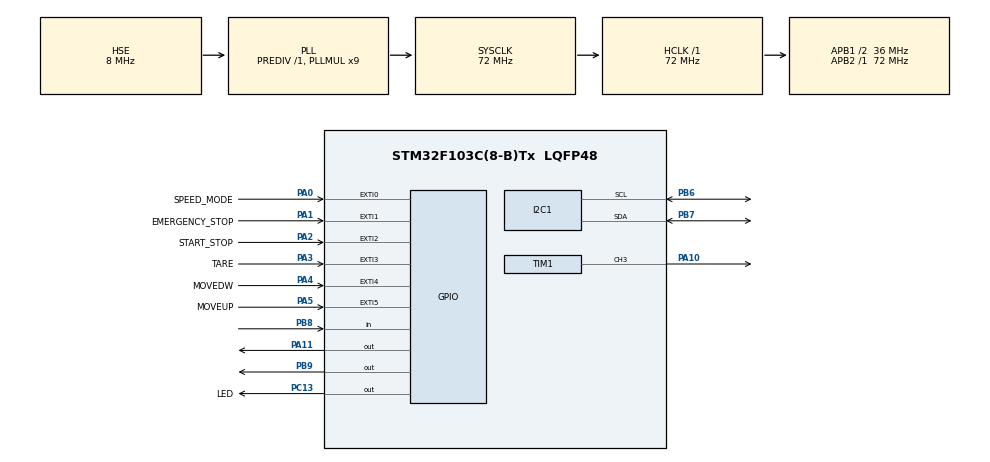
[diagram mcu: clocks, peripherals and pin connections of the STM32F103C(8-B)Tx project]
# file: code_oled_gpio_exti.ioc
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I2C1.I2C_Mode=I2C_Fast
Mcu.Family=STM32F1
Mcu.Name=STM32F103C(8-B)Tx
Mcu.Package=LQFP48
NVIC.EXTI0_IRQn=true\:4\:0\:true\:false\:true\:true\:true\:true
NVIC.EXTI1_IRQn=true\:0\:0\:true\:false\:true\:true\:true\:true
NVIC.EXTI2_IRQn=true\:0\:0\:false\:false\:true\:true\:true\:true
NVIC.EXTI3_IRQn=true\:5\:0\:true\:false\:true\:true\:true\:true
NVIC.EXTI4_IRQn=true\:5\:0\:true\:false\:true\:true\:true\:true
NVIC.EXTI9_5_IRQn=true\:5\:0\:true\:false\:true\:true\:true\:true
NVIC.PriorityGroup=NVIC_PRIORITYGROUP_4
PA0-WKUP.GPIO_Label=SPEED_MODE
PA0-WKUP.GPIO_ModeDefaultEXTI=GPIO_MODE_IT_FALLING
PA0-WKUP.GPIO_PuPd=GPIO_PULLUP
PA0-WKUP.Signal=GPXTI0
PA1.GPIO_Label=EMERGENCY_STOP
PA1.GPIO_ModeDefaultEXTI=GPIO_MODE_IT_FALLING
PA1.GPIO_PuPd=GPIO_PULLUP
PA1.Signal=GPXTI1
PA10.Signal=S_TIM1_CH3
PA11.GPIO_PuPd=GPIO_PULLUP
PA11.Signal=GPIO_Output
PA13.Mode=Serial_Wire
PA13.Signal=SYS_JTMS-SWDIO
PA14.Mode=Serial_Wire
PA14.Signal=SYS_JTCK-SWCLK
PA2.GPIO_Label=START_STOP
PA2.GPIO_ModeDefaultEXTI=GPIO_MODE_IT_FALLING
PA2.GPIO_PuPd=GPIO_PULLUP
PA2.Signal=GPXTI2
PA3.GPIO_Label=TARE
PA3.GPIO_ModeDefaultEXTI=GPIO_MODE_IT_FALLING
PA3.GPIO_PuPd=GPIO_PULLUP
PA3.Signal=GPXTI3
PA4.GPIO_Label=MOVEDW
PA4.GPIO_ModeDefaultEXTI=GPIO_MODE_IT_FALLING
PA4.GPIO_PuPd=GPIO_PULLUP
PA4.Signal=GPXTI4
PA5.GPIO_Label=MOVEUP
PA5.GPIO_ModeDefaultEXTI=GPIO_MODE_IT_FALLING
PA5.GPIO_PuPd=GPIO_PULLUP
PA5.Signal=GPXTI5
PB6.Mode=I2C
PB6.Signal=I2C1_SCL
PB7.Mode=I2C
PB7.Signal=I2C1_SDA
PB8.Signal=GPIO_Input
PB9.Signal=GPIO_Output
PC13-TAMPER-RTC.GPIO_Label=LED
PC13-TAMPER-RTC.GPIO_PuPd=GPIO_PULLDOWN
PC13-TAMPER-RTC.PinState=GPIO_PIN_SET
PC13-TAMPER-RTC.Signal=GPIO_Output
PD0-OSC_IN.Mode=HSE-External-Oscillator
PD0-OSC_IN.Signal=RCC_OSC_IN
PD1-OSC_OUT.Mode=HSE-External-Oscillator
PD1-OSC_OUT.Signal=RCC_OSC_OUT
ProjectManager.HeapSize=0x200
ProjectManager.StackSize=0x400
ProjectManager.TargetToolchain=STM32CubeIDE
RCC.AHBFreq_Value=72000000
RCC.APB1CLKDivider=RCC_HCLK_DIV2
RCC.APB1Freq_Value=36000000
RCC.APB1TimFreq_Value=72000000
RCC.APB2Freq_Value=72000000
RCC.APB2TimFreq_Value=72000000
RCC.HCLKFreq_Value=72000000
RCC.PLLMUL=RCC_PLL_MUL9
RCC.PLLSourceVirtual=RCC_PLLSOURCE_HSE
RCC.SYSCLKFreq_VALUE=72000000
RCC.SYSCLKSource=RCC_SYSCLKSOURCE_PLLCLK
RCC.USBFreq_Value=72000000
SH.S_TIM1_CH3.0=TIM1_CH3,PWM Generation3 CH3
TIM1.AutoReloadPreload=TIM_AUTORELOAD_PRELOAD_ENABLE
TIM1.Channel-PWM\ Generation3\ CH3=TIM_CHANNEL_3
TIM1.Period=999
TIM1.Prescaler=71
TIM1.Pulse-PWM\ Generation3\ CH3=499
TIM2.Prescaler=71
TIM3.AutoReloadPreload=TIM_AUTORELOAD_PRELOAD_ENABLE
TIM3.Period=65535
TIM3.Prescaler=36000
TIM4.AutoReloadPreload=TIM_AUTORELOAD_PRELOAD_ENABLE
TIM4.Period=999
TIM4.Prescaler=36000
VP_TIM1_VS_ClockSourceINT.Mode=Internal
VP_TIM2_VS_ClockSourceINT.Mode=Internal
VP_TIM3_VS_ClockSourceINT.Mode=Internal
VP_TIM4_VS_ClockSourceINT.Mode=Internal
board=custom

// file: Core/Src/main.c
/* USER CODE BEGIN Header */
/**
  ******************************************************************************
  * @file           : main.c
  * @brief          : Main program body
  ******************************************************************************
  * @attention
  *
  * Copyright (c) 2024 STMicroelectronics.
  * All rights reserved.
  *
  * This software is licensed under terms that can be found in the LICENSE file
  * in the root directory of this software component.
  * If no LICENSE file comes with this software, it is provided AS-IS.
  *
  ******************************************************************************
  */
/* USER CODE END Header */
#include "main.h"

/* USER CODE BEGIN Includes */
#include "fonts.h"
#include "ssd1306.h"
#include "stdio.h"
/* USER CODE END Includes */

/* USER CODE BEGIN PD */
#define DIR_PIN GPIO_PIN_11
#define DIR_PORT GPIOA
#define STEP_PIN GPIO_PIN_10
#define STEP_PORT GPIOA

#define DT_PIN GPIO_PIN_8
#define DT_PORT GPIOB
#define SCK_PIN GPIO_PIN_9
#define SCK_PORT GPIOB

/* USER CODE END PD */

I2C_HandleTypeDef hi2c1;

TIM_HandleTypeDef htim1;
TIM_HandleTypeDef htim2;
TIM_HandleTypeDef htim3;
TIM_HandleTypeDef htim4;

/* USER CODE BEGIN PV */
uint8_t tt = 0;
uint8_t dir = 0;
uint8_t speed = 0;
uint32_t force = 0;

/* USER CODE END PV */

void SystemClock_Config(void);
static void MX_GPIO_Init(void);
static void MX_I2C1_Init(void);
static void MX_TIM2_Init(void);
static void MX_TIM1_Init(void);
static void MX_TIM3_Init(void);
static void MX_TIM4_Init(void);

/* USER CODE BEGIN 0 */

void HAL_GPIO_EXTI_Callback(uint16_t GPIO_Pin)
{
  /* Prevent unused argument(s) compilation warning */
  UNUSED(GPIO_Pin);
  /* NOTE: This function Should not be modified, when the callback is needed,
           the HAL_GPIO_EXTI_Callback could be implemented in the user file
   */

  // nut start_stop duoc nhan
  if (GPIO_Pin == START_STOP_Pin){

	  if (tt == 1){
		  tt = 0;
		  SSD1306_GotoXY (56, 15);
		  SSD1306_Puts ("STOP TEST ", &Font_7x10, 1);
		  SSD1306_UpdateScreen();
	  }
	  else {
		  tt = 1;
		  SSD1306_GotoXY (56, 15);
		  SSD1306_Puts ("START TEST", &Font_7x10, 1);
		  SSD1306_UpdateScreen();
	  }
  }

  //nut emergency duoc nhan
  else if (GPIO_Pin == EMERGENCY_STOP_Pin){
	  if (tt == 1){
		  tt = 0;
	  	  SSD1306_GotoXY (56, 15);
	  	  SSD1306_Puts ("STOP TEST ", &Font_7x10, 1);
	  	  SSD1306_UpdateScreen();
	  }
	  else {
	  	  tt = 1;
	  	  SSD1306_GotoXY (56, 15);
	  	  SSD1306_Puts ("START TEST", &Font_7x10, 1);
	  	  SSD1306_UpdateScreen();
	  }
  }

  //nut speed_mode duoc nhan
  else if (GPIO_Pin == SPEED_MODE_Pin){
	  if (speed == 1){
		  speed = 0;
		  SSD1306_GotoXY (56, 39);
		  SSD1306_Puts ("SLOW      ", &Font_7x10, 1);
		  SSD1306_UpdateScreen();
	  }
	  else {
	  	  speed = 1;
	  	  SSD1306_GotoXY (56, 39);
	  	  SSD1306_Puts ("FLASH     ", &Font_7x10, 1);
	  	  SSD1306_UpdateScreen();
	  }

  }

  //nut tare duoc nhan
  //else if (GPIO_Pin == TARE_Pin){

  //}

  //nut move down duoc nhan
  else if (GPIO_Pin == MOVEDW_Pin)
  {
	  dir = 0;
	  HAL_GPIO_WritePin(DIR_PORT, DIR_PIN, dir);
	  SSD1306_GotoXY (56, 51);
	  SSD1306_Puts ("RIGHT  ", &Font_7x10, 1);
	  SSD1306_UpdateScreen();
  }

  //nut move up duoc nhan
  else if (GPIO_Pin == MOVEUP_Pin)
  {
  	  dir = 1;
  	  HAL_GPIO_WritePin(DIR_PORT, DIR_PIN, dir);
  	  SSD1306_GotoXY (56, 51);
  	  SSD1306_Puts ("LEFT   ", &Font_7x10, 1);
  	  SSD1306_UpdateScreen();
  }

}

uint32_t tare = 8349807;
float knownOriginal = 46000000;  // in milli gram
float knownHX711 = 244104; // 244104
int weight;

void microDelay(uint16_t delay)
{
  __HAL_TIM_SET_COUNTER(&htim2, 0);
  while (__HAL_TIM_GET_COUNTER(&htim2) < delay);
}

int32_t getHX711(void)
{
  uint32_t data = 0;
  uint32_t startTime = HAL_GetTick();
  while(HAL_GPIO_ReadPin(DT_PORT, DT_PIN) == GPIO_PIN_SET)
  {
    if(HAL_GetTick() - startTime > 200)
      return 0;
  }
  for(int8_t len=0; len<24 ; len++)
  {
    HAL_GPIO_WritePin(SCK_PORT, SCK_PIN, GPIO_PIN_SET);
    microDelay(1);
    data = data << 1;
    HAL_GPIO_WritePin(SCK_PORT, SCK_PIN, GPIO_PIN_RESET);
    microDelay(1);
    if(HAL_GPIO_ReadPin(DT_PORT, DT_PIN) == GPIO_PIN_SET)
      data ++;
  }
  data = data ^ 0x800000;
  HAL_GPIO_WritePin(SCK_PORT, SCK_PIN, GPIO_PIN_SET);
  microDelay(1);
  HAL_GPIO_WritePin(SCK_PORT, SCK_PIN, GPIO_PIN_RESET);
  microDelay(1);
  return data;
}

int weigh()
{
  int32_t  total = 0;
  int32_t  samples = 200;
  int milligram;
  float coefficient;
  for(uint16_t i = 0 ; i < samples ; i++)
  {
      total += getHX711();
  }
  int32_t average = (int32_t)(total / samples);
  coefficient = knownOriginal / knownHX711;
  milligram = (int)(average-tare)*coefficient;
  return milligram;
}

/* USER CODE END 0 */

int main(void)
{

  /* MCU Configuration--------------------------------------------------------*/

  /* Reset of all peripherals, Initializes the Flash interface and the Systick. */
  HAL_Init();

  /* Configure the system clock */
  SystemClock_Config();

  /* Initialize all configured peripherals */
  MX_GPIO_Init();
  MX_I2C1_Init();
  MX_TIM2_Init();
  MX_TIM1_Init();
  MX_TIM3_Init();
  MX_TIM4_Init();
  /* USER CODE BEGIN 2 */
  HAL_TIM_PWM_Start(&htim1, TIM_CHANNEL_3);

  HAL_TIM_Base_Start(&htim2);

  HAL_GPIO_WritePin(SCK_PORT, SCK_PIN, GPIO_PIN_SET);
  HAL_Delay(10);
  HAL_GPIO_WritePin(SCK_PORT, SCK_PIN, GPIO_PIN_RESET);
  HAL_Delay(10);

  SSD1306_Init();
  char snum[5];

  //chay doan chuong trinh ban dau
  SSD1306_GotoXY (0,0);
  SSD1306_Puts ("By TRIET", &Font_7x10, 1);
  SSD1306_GotoXY (0, 20);
  SSD1306_Puts ("STARTING", &Font_7x10, 1);
  SSD1306_GotoXY (0, 40);
  SSD1306_Puts ("..........", &Font_7x10, 1);
  SSD1306_UpdateScreen();
  HAL_Delay(1000);

  SSD1306_ScrollRight(0,7);
  HAL_Delay(3000);
  SSD1306_ScrollLeft(0,7);
  HAL_Delay(3000);
  SSD1306_Stopscroll();
  SSD1306_Clear();

  SSD1306_GotoXY (11,0);
  SSD1306_Puts ("TESTING MACHINE", &Font_7x10, 1);
  SSD1306_GotoXY (0, 15);
  SSD1306_Puts ("STATUS:        ", &Font_7x10, 1);
  SSD1306_GotoXY (0, 27);
  SSD1306_Puts ("FORCE :        ", &Font_7x10, 1);
  SSD1306_GotoXY (0, 39);
  SSD1306_Puts ("SPEED :        ", &Font_7x10, 1);
  SSD1306_GotoXY (0, 51);
  SSD1306_Puts ("MODE  :        ", &Font_7x10, 1);
  SSD1306_UpdateScreen();
  /* USER CODE END 2 */

  /* Infinite loop */
  /* USER CODE BEGIN WHILE */
  while (1)
  {
	  if (tt == 0){
		  __HAL_TIM_SET_COMPARE(&htim1, TIM_CHANNEL_3, 0);
	  }
	  if (tt == 1){

		  __HAL_TIM_SET_COMPARE(&htim1, TIM_CHANNEL_3, 500);
		  HAL_Delay(2740);
		  __HAL_TIM_SET_COMPARE(&htim1, TIM_CHANNEL_3, 0);

		  weight = weigh();
		  force = weight/1000000;

		  itoa(force, snum, 10);
		  SSD1306_GotoXY (56, 27);
		  SSD1306_Puts (snum, &Font_7x10, 1);
		  SSD1306_UpdateScreen();

	  }
    /* USER CODE END WHILE */

  }
}

void SystemClock_Config(void)
{
  RCC_OscInitTypeDef RCC_OscInitStruct = {0};
  RCC_ClkInitTypeDef RCC_ClkInitStruct = {0};

  /** Initializes the RCC Oscillators according to the specified parameters
  * in the RCC_OscInitTypeDef structure.
  */
  RCC_OscInitStruct.OscillatorType = RCC_OSCILLATORTYPE_HSE;
  RCC_OscInitStruct.HSEState = RCC_HSE_ON;
  RCC_OscInitStruct.HSEPredivValue = RCC_HSE_PREDIV_DIV1;
  RCC_OscInitStruct.HSIState = RCC_HSI_ON;
  RCC_OscInitStruct.PLL.PLLState = RCC_PLL_ON;
  RCC_OscInitStruct.PLL.PLLSource = RCC_PLLSOURCE_HSE;
  RCC_OscInitStruct.PLL.PLLMUL = RCC_PLL_MUL9;
  if (HAL_RCC_OscConfig(&RCC_OscInitStruct) != HAL_OK)
  {
    Error_Handler();
  }

  /** Initializes the CPU, AHB and APB buses clocks
  */
  RCC_ClkInitStruct.ClockType = RCC_CLOCKTYPE_HCLK|RCC_CLOCKTYPE_SYSCLK
                              |RCC_CLOCKTYPE_PCLK1|RCC_CLOCKTYPE_PCLK2;
  RCC_ClkInitStruct.SYSCLKSource = RCC_SYSCLKSOURCE_PLLCLK;
  RCC_ClkInitStruct.AHBCLKDivider = RCC_SYSCLK_DIV1;
  RCC_ClkInitStruct.APB1CLKDivider = RCC_HCLK_DIV2;
  RCC_ClkInitStruct.APB2CLKDivider = RCC_HCLK_DIV1;

  if (HAL_RCC_ClockConfig(&RCC_ClkInitStruct, FLASH_LATENCY_2) != HAL_OK)
  {
    Error_Handler();
  }
}

static void MX_I2C1_Init(void)
{

  hi2c1.Instance = I2C1;
  hi2c1.Init.ClockSpeed = 400000;
  hi2c1.Init.DutyCycle = I2C_DUTYCYCLE_2;
  hi2c1.Init.OwnAddress1 = 0;
  hi2c1.Init.AddressingMode = I2C_ADDRESSINGMODE_7BIT;
  hi2c1.Init.DualAddressMode = I2C_DUALADDRESS_DISABLE;
  hi2c1.Init.OwnAddress2 = 0;
  hi2c1.Init.GeneralCallMode = I2C_GENERALCALL_DISABLE;
  hi2c1.Init.NoStretchMode = I2C_NOSTRETCH_DISABLE;
  if (HAL_I2C_Init(&hi2c1) != HAL_OK)
  {
    Error_Handler();
  }

}

static void MX_TIM1_Init(void)
{

  TIM_ClockConfigTypeDef sClockSourceConfig = {0};
  TIM_MasterConfigTypeDef sMasterConfig = {0};
  TIM_OC_InitTypeDef sConfigOC = {0};
  TIM_BreakDeadTimeConfigTypeDef sBreakDeadTimeConfig = {0};

  htim1.Instance = TIM1;
  htim1.Init.Prescaler = 71;
  htim1.Init.CounterMode = TIM_COUNTERMODE_UP;
  htim1.Init.Period = 999;
  htim1.Init.ClockDivision = TIM_CLOCKDIVISION_DIV1;
  htim1.Init.RepetitionCounter = 0;
  htim1.Init.AutoReloadPreload = TIM_AUTORELOAD_PRELOAD_ENABLE;
  if (HAL_TIM_Base_Init(&htim1) != HAL_OK)
  {
    Error_Handler();
  }
  sClockSourceConfig.ClockSource = TIM_CLOCKSOURCE_INTERNAL;
  if (HAL_TIM_ConfigClockSource(&htim1, &sClockSourceConfig) != HAL_OK)
  {
    Error_Handler();
  }
  if (HAL_TIM_PWM_Init(&htim1) != HAL_OK)
  {
    Error_Handler();
  }
  sMasterConfig.MasterOutputTrigger = TIM_TRGO_RESET;
  sMasterConfig.MasterSlaveMode = TIM_MASTERSLAVEMODE_DISABLE;
  if (HAL_TIMEx_MasterConfigSynchronization(&htim1, &sMasterConfig) != HAL_OK)
  {
    Error_Handler();
  }
  sConfigOC.OCMode = TIM_OCMODE_PWM1;
  sConfigOC.Pulse = 499;
  sConfigOC.OCPolarity = TIM_OCPOLARITY_HIGH;
  sConfigOC.OCNPolarity = TIM_OCNPOLARITY_HIGH;
  sConfigOC.OCFastMode = TIM_OCFAST_DISABLE;
  sConfigOC.OCIdleState = TIM_OCIDLESTATE_RESET;
  sConfigOC.OCNIdleState = TIM_OCNIDLESTATE_RESET;
  if (HAL_TIM_PWM_ConfigChannel(&htim1, &sConfigOC, TIM_CHANNEL_3) != HAL_OK)
  {
    Error_Handler();
  }
  sBreakDeadTimeConfig.OffStateRunMode = TIM_OSSR_DISABLE;
  sBreakDeadTimeConfig.OffStateIDLEMode = TIM_OSSI_DISABLE;
  sBreakDeadTimeConfig.LockLevel = TIM_LOCKLEVEL_OFF;
  sBreakDeadTimeConfig.DeadTime = 0;
  sBreakDeadTimeConfig.BreakState = TIM_BREAK_DISABLE;
  sBreakDeadTimeConfig.BreakPolarity = TIM_BREAKPOLARITY_HIGH;
  sBreakDeadTimeConfig.AutomaticOutput = TIM_AUTOMATICOUTPUT_DISABLE;
  if (HAL_TIMEx_ConfigBreakDeadTime(&htim1, &sBreakDeadTimeConfig) != HAL_OK)
  {
    Error_Handler();
  }
  HAL_TIM_MspPostInit(&htim1);

}

static void MX_TIM2_Init(void)
{

  TIM_ClockConfigTypeDef sClockSourceConfig = {0};
  TIM_MasterConfigTypeDef sMasterConfig = {0};

  htim2.Instance = TIM2;
  htim2.Init.Prescaler = 71;
  htim2.Init.CounterMode = TIM_COUNTERMODE_UP;
  htim2.Init.Period = 65535;
  htim2.Init.ClockDivision = TIM_CLOCKDIVISION_DIV1;
  htim2.Init.AutoReloadPreload = TIM_AUTORELOAD_PRELOAD_DISABLE;
  if (HAL_TIM_Base_Init(&htim2) != HAL_OK)
  {
    Error_Handler();
  }
  sClockSourceConfig.ClockSource = TIM_CLOCKSOURCE_INTERNAL;
  if (HAL_TIM_ConfigClockSource(&htim2, &sClockSourceConfig) != HAL_OK)
  {
    Error_Handler();
  }
  sMasterConfig.MasterOutputTrigger = TIM_TRGO_RESET;
  sMasterConfig.MasterSlaveMode = TIM_MASTERSLAVEMODE_DISABLE;
  if (HAL_TIMEx_MasterConfigSynchronization(&htim2, &sMasterConfig) != HAL_OK)
  {
    Error_Handler();
  }

}

static void MX_TIM3_Init(void)
{

  TIM_ClockConfigTypeDef sClockSourceConfig = {0};
  TIM_MasterConfigTypeDef sMasterConfig = {0};

  htim3.Instance = TIM3;
  htim3.Init.Prescaler = 36000;
  htim3.Init.CounterMode = TIM_COUNTERMODE_UP;
  htim3.Init.Period = 65535;
  htim3.Init.ClockDivision = TIM_CLOCKDIVISION_DIV1;
  htim3.Init.AutoReloadPreload = TIM_AUTORELOAD_PRELOAD_ENABLE;
  if (HAL_TIM_Base_Init(&htim3) != HAL_OK)
  {
    Error_Handler();
  }
  sClockSourceConfig.ClockSource = TIM_CLOCKSOURCE_INTERNAL;
  if (HAL_TIM_ConfigClockSource(&htim3, &sClockSourceConfig) != HAL_OK)
  {
    Error_Handler();
  }
  sMasterConfig.MasterOutputTrigger = TIM_TRGO_RESET;
  sMasterConfig.MasterSlaveMode = TIM_MASTERSLAVEMODE_DISABLE;
  if (HAL_TIMEx_MasterConfigSynchronization(&htim3, &sMasterConfig) != HAL_OK)
  {
    Error_Handler();
  }

}

static void MX_TIM4_Init(void)
{

  TIM_ClockConfigTypeDef sClockSourceConfig = {0};
  TIM_MasterConfigTypeDef sMasterConfig = {0};

  htim4.Instance = TIM4;
  htim4.Init.Prescaler = 36000;
  htim4.Init.CounterMode = TIM_COUNTERMODE_UP;
  htim4.Init.Period = 999;
  htim4.Init.ClockDivision = TIM_CLOCKDIVISION_DIV1;
  htim4.Init.AutoReloadPreload = TIM_AUTORELOAD_PRELOAD_ENABLE;
  if (HAL_TIM_Base_Init(&htim4) != HAL_OK)
  {
    Error_Handler();
  }
  sClockSourceConfig.ClockSource = TIM_CLOCKSOURCE_INTERNAL;
  if (HAL_TIM_ConfigClockSource(&htim4, &sClockSourceConfig) != HAL_OK)
  {
    Error_Handler();
  }
  sMasterConfig.MasterOutputTrigger = TIM_TRGO_RESET;
  sMasterConfig.MasterSlaveMode = TIM_MASTERSLAVEMODE_DISABLE;
  if (HAL_TIMEx_MasterConfigSynchronization(&htim4, &sMasterConfig) != HAL_OK)
  {
    Error_Handler();
  }

}

static void MX_GPIO_Init(void)
{
  GPIO_InitTypeDef GPIO_InitStruct = {0};

  /* GPIO Ports Clock Enable */
  __HAL_RCC_GPIOC_CLK_ENABLE();
  __HAL_RCC_GPIOD_CLK_ENABLE();
  __HAL_RCC_GPIOA_CLK_ENABLE();
  __HAL_RCC_GPIOB_CLK_ENABLE();

  /*Configure GPIO pin Output Level */
  HAL_GPIO_WritePin(LED_GPIO_Port, LED_Pin, GPIO_PIN_SET);

  /*Configure GPIO pin Output Level */
  HAL_GPIO_WritePin(GPIOA, GPIO_PIN_11, GPIO_PIN_RESET);

  /*Configure GPIO pin Output Level */
  HAL_GPIO_WritePin(GPIOB, GPIO_PIN_9, GPIO_PIN_RESET);

  /*Configure GPIO pin : LED_Pin */
  GPIO_InitStruct.Pin = LED_Pin;
  GPIO_InitStruct.Mode = GPIO_MODE_OUTPUT_PP;
  GPIO_InitStruct.Pull = GPIO_PULLDOWN;
  GPIO_InitStruct.Speed = GPIO_SPEED_FREQ_LOW;
  HAL_GPIO_Init(LED_GPIO_Port, &GPIO_InitStruct);

  /*Configure GPIO pins : SPEED_MODE_Pin EMERGENCY_STOP_Pin START_STOP_Pin TARE_Pin
                           MOVEDW_Pin MOVEUP_Pin */
  GPIO_InitStruct.Pin = SPEED_MODE_Pin|EMERGENCY_STOP_Pin|START_STOP_Pin|TARE_Pin
                          |MOVEDW_Pin|MOVEUP_Pin;
  GPIO_InitStruct.Mode = GPIO_MODE_IT_FALLING;
  GPIO_InitStruct.Pull = GPIO_PULLUP;
  HAL_GPIO_Init(GPIOA, &GPIO_InitStruct);

  /*Configure GPIO pin : PA11 */
  GPIO_InitStruct.Pin = GPIO_PIN_11;
  GPIO_InitStruct.Mode = GPIO_MODE_OUTPUT_PP;
  GPIO_InitStruct.Pull = GPIO_PULLUP;
  GPIO_InitStruct.Speed = GPIO_SPEED_FREQ_LOW;
  HAL_GPIO_Init(GPIOA, &GPIO_InitStruct);

  /*Configure GPIO pin : PB8 */
  GPIO_InitStruct.Pin = GPIO_PIN_8;
  GPIO_InitStruct.Mode = GPIO_MODE_INPUT;
  GPIO_InitStruct.Pull = GPIO_NOPULL;
  HAL_GPIO_Init(GPIOB, &GPIO_InitStruct);

  /*Configure GPIO pin : PB9 */
  GPIO_InitStruct.Pin = GPIO_PIN_9;
  GPIO_InitStruct.Mode = GPIO_MODE_OUTPUT_PP;
  GPIO_InitStruct.Pull = GPIO_NOPULL;
  GPIO_InitStruct.Speed = GPIO_SPEED_FREQ_LOW;
  HAL_GPIO_Init(GPIOB, &GPIO_InitStruct);

  /* EXTI interrupt init*/
  HAL_NVIC_SetPriority(EXTI0_IRQn, 4, 0);
  HAL_NVIC_EnableIRQ(EXTI0_IRQn);

  HAL_NVIC_SetPriority(EXTI1_IRQn, 0, 0);
  HAL_NVIC_EnableIRQ(EXTI1_IRQn);

  HAL_NVIC_SetPriority(EXTI2_IRQn, 0, 0);
  HAL_NVIC_EnableIRQ(EXTI2_IRQn);

  HAL_NVIC_SetPriority(EXTI3_IRQn, 5, 0);
  HAL_NVIC_EnableIRQ(EXTI3_IRQn);

  HAL_NVIC_SetPriority(EXTI4_IRQn, 5, 0);
  HAL_NVIC_EnableIRQ(EXTI4_IRQn);

  HAL_NVIC_SetPriority(EXTI9_5_IRQn, 5, 0);
  HAL_NVIC_EnableIRQ(EXTI9_5_IRQn);

}

void Error_Handler(void)
{
  __disable_irq();
  while (1)
  {
  }
}
